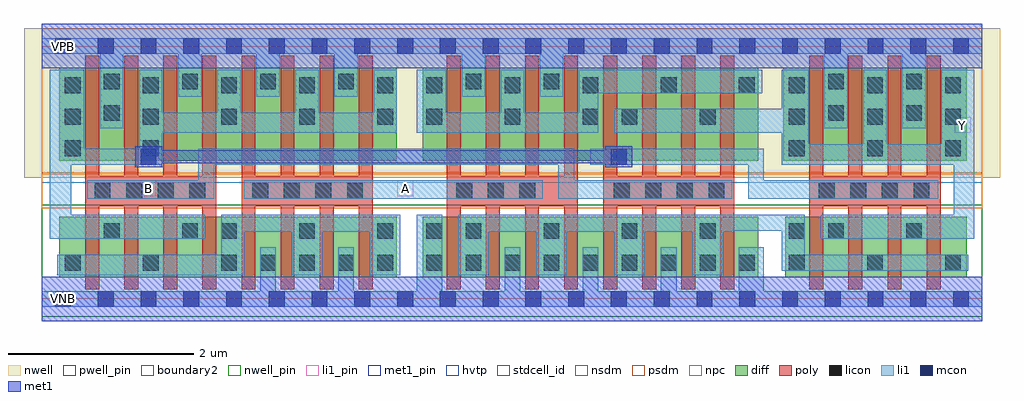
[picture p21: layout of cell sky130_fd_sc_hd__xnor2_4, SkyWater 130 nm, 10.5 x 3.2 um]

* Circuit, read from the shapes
.subckt sky130_fd_sc_hd__xnor2_4 A B VGND VNB VPB VPWR Y
XM1 n1 B n2 VNB sky130_fd_pr__nfet_01v8 w=0.65 l=0.15 m=4
XM2 VGND A n2 VNB sky130_fd_pr__nfet_01v8 w=0.65 l=0.15 m=4
XM3 n3 A VGND VNB sky130_fd_pr__nfet_01v8 w=0.65 l=0.15 m=4
XM4 n3 B VGND VNB sky130_fd_pr__nfet_01v8 w=0.65 l=0.15 m=4
XM5 Y n1 n3 VNB sky130_fd_pr__nfet_01v8 w=0.65 l=0.15 m=4
XM6 VPWR B n1 VPB sky130_fd_pr__pfet_01v8_hvt w=1 l=0.15 m=4
XM7 VPWR A n1 VPB sky130_fd_pr__pfet_01v8_hvt w=1 l=0.15 m=4
XM8 VPWR A n4 VPB sky130_fd_pr__pfet_01v8_hvt w=1 l=0.15 m=4
XM9 Y B n4 VPB sky130_fd_pr__pfet_01v8_hvt w=1 l=0.15 m=4
XM10 VPWR n1 Y VPB sky130_fd_pr__pfet_01v8_hvt w=1 l=0.15 m=4
.ends

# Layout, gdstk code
import gdstk
lib = gdstk.Library(unit=1e-6, precision=1e-09)
def R(c, l, rs):  # rectangles x0, y0, x1, y1
    for r in rs: c.add(gdstk.rectangle(r[:2], r[2:], *l))
def A(c, l, x, y, w, h, nx, ny, dx, dy):  # array of equal rectangles
    R(c, l, [(x+i*dx, y+j*dy, x+i*dx+w, y+j*dy+h) for i in range(nx) for j in range(ny)])
def P(c, l, *ps):  # polygons
    for p in ps: c.add(gdstk.Polygon(p, *l))
nwell_pin = (64, 16)
nwell = (64, 20)
diff = (65, 20)
poly = (66, 20)
licon = (66, 44)
li1_pin = (67, 16)
li1 = (67, 20)
mcon = (67, 44)
met1_pin = (68, 16)
met1 = (68, 20)
hvtp = (78, 44)
stdcell_id = (81, 4)
nsdm = (93, 44)
psdm = (94, 20)
npc = (95, 20)
pwell_pin = (122, 16)
boundary2 = (236, 0)

sky130_fd_sc_hd__xnor2_4 = lib.new_cell('sky130_fd_sc_hd__xnor2_4')
R(sky130_fd_sc_hd__xnor2_4, nwell_pin, [(0.145,2.635,0.315,2.805)])
R(sky130_fd_sc_hd__xnor2_4, nwell, [(-0.19,1.305,10.31,2.91)])
R(sky130_fd_sc_hd__xnor2_4, diff, [(0.19,0.235,3.82,0.885), (4.1,0.235,7.71,0.885), (8,0.235,9.95,0.885), (0.19,1.485,3.82,2.485), (4.1,1.485,7.71,2.485), (7.98,1.485,9.95,2.485)])
P(sky130_fd_sc_hd__xnor2_4, poly, [(7.45,2.615),(7.3,2.615),(7.3,1.325),(7.03,1.325),(7.03,2.615),(6.88,2.615),(6.88,1.325),(6.61,1.325),(6.61,2.615),(6.46,2.615),(6.46,1.325),(6.19,1.325),(6.19,2.615),(6.04,2.615),(6.04,0.105),(6.19,0.105),(6.19,0.995),(6.46,0.995),(6.46,0.105),(6.61,0.105),(6.61,0.995),(6.88,0.995),(6.88,0.105),(7.03,0.105),(7.03,0.995),(7.3,0.995),(7.3,0.105),(7.45,0.105)],
  [(9.67,2.615),(9.52,2.615),(9.52,1.325),(9.25,1.325),(9.25,2.615),(9.1,2.615),(9.1,1.325),(8.83,1.325),(8.83,2.615),(8.68,2.615),(8.68,1.325),(8.41,1.325),(8.41,2.615),(8.26,2.615),(8.26,0.105),(8.41,0.105),(8.41,0.995),(8.68,0.995),(8.68,0.105),(8.83,0.105),(8.83,0.995),(9.1,0.995),(9.1,0.105),(9.25,0.105),(9.25,0.995),(9.52,0.995),(9.52,0.105),(9.67,0.105)],
  [(5.77,2.615),(5.62,2.615),(5.62,1.325),(5.35,1.325),(5.35,2.615),(5.2,2.615),(5.2,1.325),(4.93,1.325),(4.93,2.615),(4.78,2.615),(4.78,1.325),(4.51,1.325),(4.51,2.615),(4.36,2.615),(4.36,0.105),(4.51,0.105),(4.51,0.995),(4.78,0.995),(4.78,0.105),(4.93,0.105),(4.93,0.995),(5.2,0.995),(5.2,0.105),(5.35,0.105),(5.35,0.995),(5.62,0.995),(5.62,0.105),(5.77,0.105)],
  [(3.56,2.615),(3.41,2.615),(3.41,1.325),(3.14,1.325),(3.14,2.615),(2.99,2.615),(2.99,1.325),(2.72,1.325),(2.72,2.615),(2.57,2.615),(2.57,1.325),(2.3,1.325),(2.3,2.615),(2.15,2.615),(2.15,0.105),(2.3,0.105),(2.3,0.995),(2.57,0.995),(2.57,0.105),(2.72,0.105),(2.72,0.995),(2.99,0.995),(2.99,0.105),(3.14,0.105),(3.14,0.995),(3.41,0.995),(3.41,0.105),(3.56,0.105)],
  [(1.88,2.615),(1.73,2.615),(1.73,1.325),(1.46,1.325),(1.46,2.615),(1.31,2.615),(1.31,1.325),(1.04,1.325),(1.04,2.615),(0.89,2.615),(0.89,1.325),(0.62,1.325),(0.62,2.615),(0.47,2.615),(0.47,0.105),(0.62,0.105),(0.62,0.995),(0.89,0.995),(0.89,0.105),(1.04,0.105),(1.04,0.995),(1.31,0.995),(1.31,0.105),(1.46,0.105),(1.46,0.995),(1.73,0.995),(1.73,0.105),(1.88,0.105)])
A(sky130_fd_sc_hd__xnor2_4, licon, 0.25, 0.305, 0.17, 0.17, 3, 1, 0.84, 0)
A(sky130_fd_sc_hd__xnor2_4, licon, 2.35, 0.305, 0.17, 0.17, 4, 1, 0.42, 0)
A(sky130_fd_sc_hd__xnor2_4, licon, 4.14, 0.305, 0.17, 0.17, 9, 1, 0.42, 0)
A(sky130_fd_sc_hd__xnor2_4, licon, 8.04, 0.305, 0.17, 0.17, 3, 2, 0.84, 1.23)
A(sky130_fd_sc_hd__xnor2_4, licon, 1.93, 0.645, 0.17, 0.17, 3, 1, 0.84, 0)
A(sky130_fd_sc_hd__xnor2_4, licon, 4.56, 0.645, 0.17, 0.17, 4, 1, 0.84, 0)
A(sky130_fd_sc_hd__xnor2_4, licon, 0.57, 1.075, 0.17, 0.17, 4, 1, 0.34, 0)
A(sky130_fd_sc_hd__xnor2_4, licon, 2.265, 1.075, 0.17, 0.17, 4, 1, 0.34, 0)
A(sky130_fd_sc_hd__xnor2_4, licon, 4.46, 1.075, 0.17, 0.17, 3, 1, 0.34, 0)
A(sky130_fd_sc_hd__xnor2_4, licon, 6.155, 1.075, 0.17, 0.17, 4, 1, 0.34, 0)
A(sky130_fd_sc_hd__xnor2_4, licon, 8.36, 1.075, 0.17, 0.17, 4, 1, 0.34, 0)
A(sky130_fd_sc_hd__xnor2_4, licon, 0.25, 1.875, 0.17, 0.17, 5, 2, 0.84, 0.34)
A(sky130_fd_sc_hd__xnor2_4, licon, 4.14, 1.875, 0.17, 0.17, 3, 1, 0.84, 0)
A(sky130_fd_sc_hd__xnor2_4, licon, 8.04, 1.875, 0.17, 0.17, 3, 2, 0.84, 0.34)
A(sky130_fd_sc_hd__xnor2_4, licon, 4.14, 2.215, 0.17, 0.17, 5, 1, 0.84, 0)
A(sky130_fd_sc_hd__xnor2_4, licon, 0.67, 2.255, 0.17, 0.17, 4, 1, 0.84, 0)
R(sky130_fd_sc_hd__xnor2_4, licon, [(0.67,0.645,0.84,0.815), (1.51,0.645,1.68,0.815), (4.14,0.645,4.31,0.815), (8.04,0.645,8.21,0.815), (8.46,0.645,8.63,0.815), (9.3,0.645,9.47,0.815), (0.25,1.535,0.42,1.705), (1.09,1.535,1.26,1.705), (6.24,1.875,6.41,2.045), (7.08,1.875,7.25,2.045), (0.67,1.915,0.84,2.085), (8.46,1.915,8.63,2.085), (9.3,1.915,9.47,2.085), (4.56,2.255,4.73,2.425), (5.4,2.255,5.57,2.425), (8.46,2.255,8.63,2.425), (9.3,2.255,9.47,2.425)])
R(sky130_fd_sc_hd__xnor2_4, li1_pin, [(1.065,1.105,1.235,1.275), (3.825,1.105,3.995,1.275), (9.825,1.785,9.995,1.955)])
R(sky130_fd_sc_hd__xnor2_4, li1, [(2.175,1.075,5.39,1.275)])
P(sky130_fd_sc_hd__xnor2_4, li1, [(9.97,0.475),(8.21,0.475),(8.21,0.905),(4.48,0.905),(4.48,0.255),(4.81,0.255),(4.81,0.725),(5.32,0.725),(5.32,0.255),(5.65,0.255),(5.65,0.725),(6.16,0.725),(6.16,0.255),(6.49,0.255),(6.49,0.725),(7,0.725),(7,0.255),(7.33,0.255),(7.33,0.725),(7.43,0.725),(7.43,0.735),(7.96,0.735),(7.96,0.305),(9.97,0.305)],
  [(3.82,2.465),(3.57,2.465),(3.57,2.005),(2.98,2.005),(2.98,2.465),(2.73,2.465),(2.73,2.005),(2.14,2.005),(2.14,2.465),(1.89,2.465),(1.89,2.005),(1.3,2.005),(1.3,2.465),(1.05,2.465),(1.05,1.615),(0.46,1.615),(0.46,2.465),(0.085,2.465),(0.085,0.645),(1.76,0.645),(1.76,0.905),(0.32,0.905),(0.32,1.445),(1.3,1.445),(1.3,1.785),(3.82,1.785)],
  [(9.645,1.275),(7.77,1.275),(7.77,1.615),(5.9,1.615),(5.9,1.445),(7.6,1.445),(7.6,1.075),(9.645,1.075)],
  [(7.75,2.465),(5.78,2.465),(5.78,2.005),(5.19,2.005),(5.19,2.465),(4.94,2.465),(4.94,2.005),(4.35,2.005),(4.35,2.465),(4.035,2.465),(4.035,1.785),(5.99,1.785),(5.99,2.215),(7.75,2.215)],
  [(7.43,1.275),(5.73,1.275),(5.73,1.615),(1.685,1.615),(1.685,1.275),(0.49,1.275),(0.49,1.075),(1.855,1.075),(1.855,1.445),(5.56,1.445),(5.56,1.075),(7.43,1.075)],
  [(10.12,0.085),(7.77,0.085),(7.77,0.555),(7.5,0.555),(7.5,0.085),(6.83,0.085),(6.83,0.555),(6.66,0.555),(6.66,0.085),(5.99,0.085),(5.99,0.555),(5.82,0.555),(5.82,0.085),(5.15,0.085),(5.15,0.555),(4.98,0.555),(4.98,0.085),(4.31,0.085),(4.31,0.905),(4.035,0.905),(4.035,0.085),(3.36,0.085),(3.36,0.555),(3.19,0.555),(3.19,0.085),(2.52,0.085),(2.52,0.555),(2.35,0.555),(2.35,0.085),(0,0.085),(0,-0.085),(10.12,-0.085)],
  [(10.12,2.805),(0,2.805),(0,2.635),(0.63,2.635),(0.63,1.835),(0.88,1.835),(0.88,2.635),(1.47,2.635),(1.47,2.175),(1.72,2.175),(1.72,2.635),(2.31,2.635),(2.31,2.175),(2.56,2.175),(2.56,2.635),(3.15,2.635),(3.15,2.175),(3.4,2.175),(3.4,2.635),(4.52,2.635),(4.52,2.175),(4.77,2.175),(4.77,2.635),(5.36,2.635),(5.36,2.175),(5.61,2.175),(5.61,2.635),(8.42,2.635),(8.42,1.835),(8.67,1.835),(8.67,2.635),(9.26,2.635),(9.26,1.835),(9.51,1.835),(9.51,2.635),(10.12,2.635)],
  [(10.035,2.465),(9.68,2.465),(9.68,1.665),(9.09,1.665),(9.09,2.465),(8.84,2.465),(8.84,1.665),(8.25,1.665),(8.25,2.465),(7.96,2.465),(7.96,2.045),(6.16,2.045),(6.16,1.785),(7.96,1.785),(7.96,1.445),(9.815,1.445),(9.815,0.905),(8.38,0.905),(8.38,0.645),(10.035,0.645)],
  [(3.86,0.905),(1.93,0.905),(1.93,0.475),(0.17,0.475),(0.17,0.255),(2.18,0.255),(2.18,0.725),(2.69,0.725),(2.69,0.255),(3.02,0.255),(3.02,0.725),(3.53,0.725),(3.53,0.255),(3.86,0.255)])
A(sky130_fd_sc_hd__xnor2_4, mcon, 0.145, -0.085, 0.17, 0.17, 22, 2, 0.46, 2.72)
R(sky130_fd_sc_hd__xnor2_4, mcon, [(1.065,1.445,1.235,1.615), (6.125,1.445,6.295,1.615)])
R(sky130_fd_sc_hd__xnor2_4, met1_pin, [(0.145,-0.085,0.315,0.085), (0.145,2.635,0.315,2.805)])
P(sky130_fd_sc_hd__xnor2_4, met1, [(6.355,1.645),(6.065,1.645),(6.065,1.6),(1.295,1.6),(1.295,1.645),(1.005,1.645),(1.005,1.415),(1.295,1.415),(1.295,1.46),(6.065,1.46),(6.065,1.415),(6.355,1.415)])
R(sky130_fd_sc_hd__xnor2_4, hvtp, [(0,1.25,10.12,2.72)])
R(sky130_fd_sc_hd__xnor2_4, stdcell_id, [(0,0,10.12,2.72)])
R(sky130_fd_sc_hd__xnor2_4, nsdm, [(0,-0.19,10.12,1.015)])
R(sky130_fd_sc_hd__xnor2_4, psdm, [(0,1.355,10.12,2.91)])
R(sky130_fd_sc_hd__xnor2_4, npc, [(0,0.975,10.12,1.345)])
R(sky130_fd_sc_hd__xnor2_4, pwell_pin, [(0.145,-0.085,0.315,0.085)])
R(sky130_fd_sc_hd__xnor2_4, boundary2, [(0,0,10.12,2.72)])
sky130_fd_sc_hd__xnor2_4.add(gdstk.FlexPath([(0,2.72),(10.12,2.72)], 0.48, ends="flush", simple_path=True, layer=68, datatype=20))  # met1
sky130_fd_sc_hd__xnor2_4.add(gdstk.FlexPath([(0,0),(10.12,0)], 0.48, ends="flush", simple_path=True, layer=68, datatype=20))  # met1
sky130_fd_sc_hd__xnor2_4.add(gdstk.Label('Y', (9.91,1.87), layer=67, texttype=5))
sky130_fd_sc_hd__xnor2_4.add(gdstk.Label('B', (1.15,1.19), layer=67, texttype=5))
sky130_fd_sc_hd__xnor2_4.add(gdstk.Label('A', (3.91,1.19), layer=67, texttype=5))
sky130_fd_sc_hd__xnor2_4.add(gdstk.Label('VNB', (0.23,0), layer=64, texttype=59))
sky130_fd_sc_hd__xnor2_4.add(gdstk.Label('VPB', (0.23,2.72), layer=64, texttype=5))
sky130_fd_sc_hd__xnor2_4.add(gdstk.Label('VGND', (0.23,0), layer=68, texttype=5))
sky130_fd_sc_hd__xnor2_4.add(gdstk.Label('VPWR', (0.23,2.72), layer=68, texttype=5))
sky130_fd_sc_hd__xnor2_4.add(gdstk.Label('xnor2_4', (0,0), layer=83, texttype=44))

lib.write_gds('sky130_fd_sc_hd__xnor2_4.gds')
